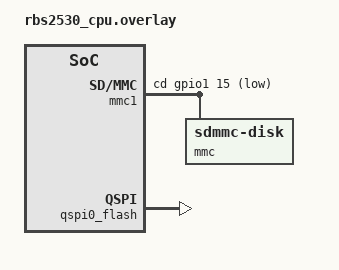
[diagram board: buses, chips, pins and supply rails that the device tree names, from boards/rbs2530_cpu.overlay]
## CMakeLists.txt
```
# SPDX-License-Identifier: Apache-2.0

cmake_minimum_required(VERSION 3.20.0)

find_package(Zephyr REQUIRED HINTS $ENV{ZEPHYR_BASE})
project(fwupdate)

target_include_directories(app PRIVATE inc)
target_sources(app PRIVATE src/main.c)
target_sources(app PRIVATE src/fwupdate.c)
```

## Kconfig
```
# Copyright (c) 2025 SYSFly Co.
# SPDX-License-Identifier: Apache-2.0

mainmenu "FW update"

module = FWUPDATE
module-str = FWUPDATE
source "subsys/logging/Kconfig.template.log_config"

config FWUPDATE_AUTO_COMMIT
	bool "Auto commit fwupdate changes"
	default y
	help
	  It will start a background task and commit fwupdate changes if
	  no system crash happens.

source "Kconfig.zephyr"
```

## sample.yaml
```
sample:
  description: rbs2530 FW update sample
  name: rbs2530 FW update sample
common:
  tags: app
tests:
  sample.rbs2530.rte.fwupdate:
    tags: app
    platform_allow:
      - rbs2530_cpu
```

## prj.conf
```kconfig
# shell options
CONFIG_SHELL=y

# Generic kernel options
CONFIG_MAIN_STACK_SIZE=4096
CONFIG_COMMON_LIBC_MALLOC=y
CONFIG_HEAP_MEM_POOL_SIZE=1048576
CONFIG_COMMON_LIBC_MALLOC_ARENA_SIZE=2097152

# Logging
CONFIG_LOG=y
CONFIG_ASSERT=n
CONFIG_PRINTK=y
CONFIG_LOG_SPEED=n
CONFIG_LOG_BUFFER_SIZE=4096
CONFIG_LOG_PROCESS_THREAD_SLEEP_MS=50
CONFIG_LOG_BLOCK_IN_THREAD=y
CONFIG_LOG_CMDS=y

# For SDMMC/MMC read/write
CONFIG_SDHC=y
CONFIG_GPIO=y
CONFIG_DISK_DRIVER_SDMMC=y

# For FatFS support
CONFIG_DISK_ACCESS=y
CONFIG_LOG=y
CONFIG_FILE_SYSTEM=y
CONFIG_FAT_FILESYSTEM_ELM=y
CONFIG_PRINTK=y

# For NOR FLASH Support
CONFIG_SPI=y
CONFIG_SPI_NOR=y
CONFIG_FLASH=y
CONFIG_FLASH_CAD_FLASH_QSPI_NOR=y

# For u-boot support
CONFIG_UBOOT=y
```

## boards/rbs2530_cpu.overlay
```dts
/**
 * Copyright (c) 2024 SYSTech Co.
 * SPDX-License-Identifier: Apache-2.0
 */

#include <zephyr/dt-bindings/gpio/gpio.h>
#include <mem.h>

&mmc1 {
	status = "okay";

	cd-gpios = <&gpio1 15 GPIO_ACTIVE_LOW>; // MIO47 is the SD card detect pin

	mmc {
		compatible = "zephyr,sdmmc-disk";
		status = "okay";
	};
};

&gpio1 {
	status = "okay";
};

&qspi0_flash {
	status = "okay";

	partitions {
		compatible = "fixed-partitions";
		#address-cells = <1>;
		#size-cells = <1>;
		slot0_partition: partition@0 {
			label = "fw_part0";
			reg = <0x00800000 DT_SIZE_M(2)>;
		};
		slot1_partition: partition@1 {
			label = "fw_part1";
			reg = <0x00a00000 DT_SIZE_M(2)>;
		};
		bootenv: partition@2 {
			label = "bootenv";
			reg = <0x00e00000 DT_SIZE_K(512)>;
		};
	};
};

/ {
	aliases {
		flash = &qspi0_flash;
	};
};
```

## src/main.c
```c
/**
 * @file main.c
 * @brief Main file for the firmware update application
 * @copyright SYSFly Co.
 */
#include <zephyr/kernel.h>
#include <zephyr/device.h>
#include <zephyr/storage/disk_access.h>
#include <zephyr/logging/log.h>
#include <zephyr/fs/fs.h>
#include <zephyr/uboot.h>

#include <string.h>
#include <stdio.h>
#include <ctype.h>

#include "fwupdate.h"

LOG_MODULE_REGISTER(main, CONFIG_LOG_DEFAULT_LEVEL);

#if CONFIG_FAT_FILESYSTEM_ELM
#include <ff.h>
/*
 *  Note the fatfs library is able to mount only strings inside _VOLUME_STRS
 *  in ffconf.h
 */
#define DISK_DRIVE_NAME "SD"
#define DISK_MOUNT_PT   "/" DISK_DRIVE_NAME ":"

static FATFS fat_fs;
/* mounting info */
static struct fs_mount_t mp = {
	.type = FS_FATFS,
	.fs_data = &fat_fs,
};
#define FS_RET_OK FR_OK
#else
#error "This demo is only work with SD card"
#endif

static bool get_filecontent(const char *file, void **buf, size_t *size);
static bool user_has_fw_update_job(size_t *firmware_size);
static int user_deal_with_fw_update_job(size_t firmware_size);

int main(void)
{
	size_t firmware_size = 0;

	mp.mnt_point = DISK_MOUNT_PT;

	int rc = fs_mount(&mp);

	if (rc == FS_RET_OK) {
		LOG_INF("Disk mounted.");
	} else {
		LOG_ERR("Error mounting disk.");
	}

	if (user_has_fw_update_job(&firmware_size)) {
		rc = user_deal_with_fw_update_job(firmware_size);
		LOG_INF("Firmware update job completed with rc=%d", rc);
	}

	return 0;
}

static bool user_has_fw_update_job(size_t *firmware_size)
{
	struct fs_file_t job_file;
	char buf[16];
	ssize_t bytes_read;
	int ret = 0;

	/* Initialize file object */
	fs_file_t_init(&job_file);

#if CONFIG_FWUPDATE_JOBFILE
	/* Try to open job.txt */
	ret = fs_open(&job_file, DISK_MOUNT_PT "/job.txt", FS_O_READ);

	if (ret != 0) {
		LOG_DBG("job.txt not found (err %d)", ret);
		return false;
	}

	/* Read file contents */
	bytes_read = fs_read(&job_file, buf, sizeof(buf) - 1);
	if (bytes_read <= 0) {
		LOG_WRN("Failed to read job.txt or file is empty");
		fs_close(&job_file);
		return false;
	}

	buf[bytes_read] = '\0';

	/* Check if "FWUPDATE" is in the file */
	if (memcmp(buf, "FWUPDATE", 8) != 0) {
		LOG_DBG("job.txt does not contain FWUPDATE directive");
		fs_close(&job_file);
		return false;
	}

	LOG_INF("Found FWUPDATE directive in job.txt");
	fs_close(&job_file);
#endif

	/* Check if fw.elf exists */
	struct fs_dirent dirent;

	ret = fs_stat(DISK_MOUNT_PT "/fw.elf", &dirent);
	if (ret != 0 || dirent.type != FS_DIR_ENTRY_FILE) {
		LOG_WRN("fw.elf not found or not a regular file (rc=%d, errno=%d, type=%d)", ret,
			errno, dirent.type);
		return false;
	}

	LOG_INF("Found fw.elf file (size: %u bytes)", dirent.size);
	*firmware_size = dirent.size;
	return true;
}

static int user_deal_with_fw_update_job(size_t firmware_size)
{
	int rc;

	LOG_INF("Pending firmware update found.");

	/* Perform firmware update */
	rc = fw_init();
	if (rc != 0) {
		LOG_ERR("Failed to initialize firmware update module (rc=%d)", rc);
		return rc;
	}

	uint8_t secondary_slot = fw_is_primary(0) ? 1 : 0;
	struct stream_flash_ctx *stream = NULL;
	struct fs_file_t fw_file;

	fs_file_t_init(&fw_file);
	rc = fs_open(&fw_file, DISK_MOUNT_PT "/fw.elf", FS_O_READ);
	if (rc != 0) {
		LOG_ERR("Failed to open firmware file (rc=%d)", rc);
		return rc;
	}

	rc = fw_start(secondary_slot, true, &stream);
	if (rc != 0) {
		LOG_ERR("Failed to start firmware update (rc=%d)", rc);
		return rc;
	}
	/* Write firmware to flash and collect data */
	static uint8_t buf[256];
	size_t total_read = 0;
	ssize_t bytes_read = 0;

	while (total_read < firmware_size) {
		size_t to_read = MIN(sizeof(buf), firmware_size - total_read);

		bytes_read = fs_read(&fw_file, buf, to_read);

		if (bytes_read <= 0) {
			LOG_ERR("Failed to read firmware file (rc=%d)", bytes_read);
			break;
		}

		LOG_DBG("Write %d bytes to flash, percentage: %d%%", bytes_read,
			(total_read + bytes_read) * 100 / firmware_size);

		rc = stream_flash_buffered_write(stream, buf, bytes_read, true);
		if (rc != 0) {
			LOG_ERR("Failed to write firmware to flash (rc=%d)", rc);
			break;
		}

		total_read += bytes_read;
	}

	/* Free the firmware buffer */
	fs_close(&fw_file);

	if (bytes_read <= 0 || rc != 0) {
		LOG_ERR("Firmware update failed, rc=%d", rc);
		return rc;
	}

	/* Try to read and parse hash file for algorithm */
	const char *hash_content = NULL;
	size_t hash_size = 0;

	if (!get_filecontent(DISK_MOUNT_PT "/hash.txt", (void **)&hash_content, &hash_size)) {
		LOG_WRN("hash.txt not found or empty");
	} else {
		LOG_INF("Found hash.txt, size: %zu bytes", hash_size);
	}

	/* Try to read and parse signature file */
	const char *signature_content = NULL;
	size_t signature_size = 0;

	if (!get_filecontent(DISK_MOUNT_PT "/signature.txt", (void **)&signature_content,
			     &signature_size)) {
		LOG_WRN("signature.txt not found or empty");
	} else {
		LOG_INF("Found signature.txt, size: %zu bytes", signature_size);
	}

	/* Try to read and parse trust chain file */
	const char *trust_chain_content = NULL;
	size_t trust_chain_size = 0;

	if (!get_filecontent(DISK_MOUNT_PT "/trust_chain.txt", (void **)&trust_chain_content,
			     &trust_chain_size)) {
		LOG_WRN("trust_chain.txt not found or empty");
	} else {
		LOG_INF("Found trust_chain.txt, size: %zu bytes", trust_chain_size);
	}

	/* Hash verification will be handled automatically in fw_finish() */
	rc = fw_finish(secondary_slot, "FWUPDATE", 8, "SHA256", hash_content, signature_content,
		       trust_chain_content);

	k_free((void *)hash_content);
	k_free((void *)signature_content);
	k_free((void *)trust_chain_content);

	if (rc != 0) {
		LOG_ERR("Failed to finish firmware update (rc=%d)", rc);
		return rc;
	}

	/* Verify the firmware (includes hash verification) */
	if (!fw_is_valid(secondary_slot)) {
		LOG_ERR("Firmware validation failed for slot %d", secondary_slot);
		return -EINVAL;
	}

	LOG_INF("Firmware update and validation completed successfully (slot %d)", secondary_slot);

#if CONFIG_FWUPDATE_JOBFILE
	/* Clean up files */
	rc = fs_unlink(DISK_MOUNT_PT "/job.txt");
	if (rc != 0) {
		LOG_ERR("Failed to remove job.txt (rc=%d)", rc);
		return rc;
	}
	LOG_INF("job.txt removed");
#endif

	return 0;
}

static bool get_filecontent(const char *file, void **buf, size_t *size)
{
	struct fs_dirent dirent;
	struct fs_file_t file_obj;
	int rc;

	/* get file size */
	rc = fs_stat(file, &dirent);
	if (rc != 0 || dirent.type != FS_DIR_ENTRY_FILE) {
		LOG_ERR("File %s not found or not a regular file (rc=%d, type=%d)", file, rc,
			dirent.type);
		return false;
	}
	if (dirent.size == 0) {
		LOG_WRN("File %s is empty", file);
		return false;
	}
	*size = dirent.size;

	/* Allocate buffer and read file content */
	fs_file_t_init(&file_obj);

	rc = fs_open(&file_obj, file, FS_O_READ);
	if (rc != 0) {
		LOG_ERR("Failed to open file %s (rc=%d)", file, rc);
		return false;
	}

	*buf = k_malloc(*size + 1);
	if (!*buf) {
		LOG_ERR("Failed to allocate memory for file content");
		fs_close(&file_obj);
		return false;
	}

	ssize_t bytes_read = fs_read(&file_obj, *buf, *size);

	if (bytes_read < 0) {
		LOG_ERR("Failed to read file %s (rc=%zd)", file, bytes_read);
		k_free(*buf);
		fs_close(&file_obj);
		return false;
	}

	((char *)(*buf))[bytes_read] = '\0';

	fs_close(&file_obj);
	return true;
}
```

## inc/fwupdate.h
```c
/**
 * @file fwupdate.h
 * @brief Firmware update header file
 * @copyright SYSFly Co.
 */
#pragma once

#include <stdint.h>
#include <zephyr/storage/stream_flash.h>

#ifdef __cplusplus
extern "C" {
#endif

struct fw_info {
	uint32_t fw_size;         /* Firmware size */
	uint32_t fw_digest[8];    /* Firmware digest, null if not available */
	uint32_t fw_signature[8]; /* Firmware signature, null if not available */
	char fw_tag[64];          /* Firmware tag */
};

/**
 * @brief Initialize the firmware update module
 * @note: This function must be called before any other function in this module
 * @return 0 on success, negative errno code on failure
 * @return -ENOENT if the partition is not available
 * @return -ENODEV if the flash device is not available
 * @return other negative errno codes on flash operation failure
 */
int fw_init(void);

/**
 * @brief Get the firmware information
 * @param slot Firmware slot
 * @param info Firmware information
 * @return 0 on success
 * @return -EINVAL if slot is invalid or partition is not initialized or too small
 * @return -ENODATA if the metadata or checksum is invalid
 */
int fw_get_info(uint8_t slot, struct fw_info *info);

/**
 * @brief Start a firmware update
 * @param slot Firmware slot
 * @param erase Erase the firmware partition before starting the update
 * @param[out] stream Stream to write the firmware to
 * @note  Use stream_flash_buffered_write() and stream_flash_erase_page() to write the firmware
 *        And user needs to make sure all the data is written to the flash before calling
 * fw_finish()
 * @return 0 on success
 * @return -EINVAL if slot is invalid or stream is NULL
 * @return -EACCES if the slot is primary or the stream is already initialized
 * @return other negative errno codes on flash operation failure
 */
int fw_start(uint8_t slot, bool erase, struct stream_flash_ctx **stream);

/**
 * @brief Finish a firmware update
 * @param slot Firmware slot
 * @param tag Firmware tag
 * @param tag_len Firmware tag length
 * @param hash_algo Hash algorithm name (e.g., "SHA256"), can be NULL for default
 * @param hash Hash value, can be NULL if not available
 * @param signature Signature value (hex), can be NULL if not available
 * @param trust_chain Trust chain (DER in hex, splited by ' '), can be NULL if not available
 * @note This function will set security_mode based on the hash_algo and signature
 *       - certificate: signature and trust_chain are used
 *       - hash: hash_algo and hash are used
 *       - none: no security.
 * @return 0 on success
 * @return -EINVAL if slot is invalid or tag is invalid
 * @return other negative errno codes on flash operation failure
 */
int fw_finish(uint8_t slot, const char *tag, size_t tag_len, const char *hash_algo,
	      const char *hash, const char *signature, const char *trust_chain);

/**
 * @brief Check if the firmware slot is valid
 * @param slot Firmware slot
 * @return true if the slot is valid
 * @return false if the slot is invalid
 */
bool fw_is_valid(uint8_t slot);

/**
 * @brief Check if the firmware slot is primary
 * @param slot Firmware slot
 * @return true if the slot is primary
 * @return false if the slot is not primary
 */
bool fw_is_primary(uint8_t slot);

/**
 * @brief Commit the firmware update
 *
 * @return true commit success
 * @return false commit failed
 */
bool fw_commit(void);

#ifdef __cplusplus
}
#endif
```

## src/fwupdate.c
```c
/**
 * @file fwupdate.c
 * @brief Firmware update source file
 * @copyright SYSFly Co.
 */
#include "fwupdate.h"
#include <stdio.h>
#include <stdlib.h>
#include <zephyr/kernel.h>
#include <zephyr/uboot.h>
#include <zephyr/logging/log.h>
#include <zephyr/storage/flash_map.h>
#include <zephyr/storage/stream_flash.h>

#include <string.h>
#include <ctype.h>

LOG_MODULE_REGISTER(fwupdate, CONFIG_FWUPDATE_LOG_LEVEL);

#define FW_SLOT0_ID FIXED_PARTITION_ID(slot0_partition)
#define FW_SLOT1_ID FIXED_PARTITION_ID(slot1_partition)

#if !FIXED_PARTITION_EXISTS(slot0_partition)
#error "slot0_partition not defined"
#endif

#if !FIXED_PARTITION_EXISTS(slot1_partition)
#error "slot1_partition not defined"
#endif

enum partition_e {
	PART_A = 0,
	PART_B,
};

enum fw_metadata_key_e {
	FW_DIGEST = 0,
	FW_SIGNATURE,
	FW_TAG,
	FW_SIZE,
	FW_HASH_ALGO, /* e.g. "sha256" */
};

enum fw_global_key_e {
	FW_ACTIVE = 0,
	FW_CHECK,
	FW_BOOT_CNT,
	FW_MAX_BOOT,
	FW_SECURITY_MODE,        /* security mode, e.g. "cert", "hash", "none" */
	FW_SECURITY_POLICY,      /* security policy, e.g. "goon", "hang", "fallback" */
	FW_SECURITY_TRUST_CHAIN, /* trust chain in hex, splited by ' ' */
};

/* NOTE: this is the prefix for the metadata partition,
 * e.g. app_digest_a, app_digest_b
 */
const char *fw_metadata_keys[] = {
	[FW_DIGEST] = "app_digest", [FW_SIGNATURE] = "app_signature", [FW_TAG] = "app_tag",
	[FW_SIZE] = "app_size",     [FW_HASH_ALGO] = "app_hash_algo",
};

const char *fw_global_keys[] = {
	[FW_ACTIVE] = "active_slot",
	[FW_CHECK] = "check_boot",
	[FW_BOOT_CNT] = "bootcnt",
	[FW_MAX_BOOT] = "max_boot",
	[FW_SECURITY_MODE] = "security_mode",
	[FW_SECURITY_POLICY] = "security_policy",
	[FW_SECURITY_TRUST_CHAIN] = "trust_chain",
};

struct fw_metadata {
	/* firmware header, offset 44 */
	uint8_t fw_digest[32];     /* SHA256 digest */
	uint8_t fw_signature[512]; /* RSA4096 signature */
	uint32_t fw_size;
	char fw_tag[64];
	char fw_hash_algo[16]; /* e.g. "SHA256" */
};

struct fw_update_instance {
	const uint8_t fa_fw_id;         /* flash area id for firmware */
	const struct flash_area *fa_fw; /* flash area for firmware */
	struct fw_metadata metadata;    /* metadata */
	bool is_primary;                /* is primary slot */
	bool is_valid;                  /* is valid */
	bool is_streaming;              /* is streaming */

	struct stream_flash_ctx fw_ctx; /* firmware context */
	uint8_t stream_buf[256];        /* stream buffer */
};

static struct fw_update_instance fw_instance[2] = {
	{
		.fa_fw_id = FW_SLOT0_ID,
		.fa_fw = NULL,
		.metadata = {},
	},
	{
		.fa_fw_id = FW_SLOT1_ID,
		.fa_fw = NULL,
		.metadata = {},
	},
};

#if CONFIG_FWUPDATE_AUTO_COMMIT
static bool fw_autocommit_cancel; /* default to false */
#endif

static uboot_env_t env[1];

static inline bool prepare_key(char *buf, size_t len, enum fw_metadata_key_e key,
			       enum partition_e part)
{
	int rc = snprintf(buf, len, "%s_%c", fw_metadata_keys[key], part == PART_A ? 'a' : 'b');

	return rc > 0 && rc < len;
}

static inline int fw_query_metadata(char *buf, size_t len, enum fw_metadata_key_e key,
				    enum partition_e part)
{
	char key_buf[64];

	if (!prepare_key(key_buf, sizeof(key_buf), key, part)) {
		LOG_ERR("Failed to prepare key for metadata");
		return -EINVAL;
	}

	int rc = uboot_env_get(env[0], key_buf, buf, len);

	if (rc) {
		LOG_ERR("Failed to get %s from uboot env, rc %d", key_buf, rc);
	}

	return rc;
}

static inline int fw_query_global(char *buf, size_t len, enum fw_global_key_e key)
{
	int rc = uboot_env_get(env[0], fw_global_keys[key], buf, len);

	if (rc) {
		LOG_ERR("Failed to get %s from uboot env, rc %d", fw_global_keys[key], rc);
	}

	return rc;
}

static inline int fw_set_global(enum fw_global_key_e key, const char *val)
{
	int rc = uboot_env_set(env[0], fw_global_keys[key], val);

	if (rc) {
		LOG_ERR("Failed to set %s to uboot env, rc %d", fw_global_keys[key], rc);
	}

	return rc;
}

static void fw_load_meta_from_env(uboot_env_t env, enum partition_e part, struct fw_metadata *meta)
{
	char val[sizeof(meta->fw_signature) * 2 + 1];

	ARG_UNUSED(env);

	memset(meta, 0, sizeof(struct fw_metadata));

	if (!fw_query_metadata(val, sizeof(val), FW_DIGEST, part)) {
		/* Each byte in digest is represented by 2 hex characters */
		size_t len = strnlen(val, sizeof(val));

		if (len == 2 * sizeof(meta->fw_digest)) { /* hex is 2 chars per byte */
			for (size_t i = 0; i < sizeof(meta->fw_digest); i++) {
				char hex[3] = {val[i * 2], val[i * 2 + 1], '\0'};

				meta->fw_digest[i] = strtoul(hex, NULL, 16);
			}
		} else {
			LOG_WRN("Invalid digest length: %zu (expected %zu)", len,
				2 * sizeof(meta->fw_digest));
		}
	}
	if (!fw_query_metadata(val, sizeof(val), FW_SIGNATURE, part)) {
		/* Each byte in signature is represented by 2 hex characters */
		size_t len = strnlen(val, sizeof(val));

		if (len == 2 * sizeof(meta->fw_signature)) { /* hex is 2 chars per byte */
			for (size_t i = 0; i < sizeof(meta->fw_signature); i++) {
				char hex[3] = {val[i * 2], val[i * 2 + 1], '\0'};

				meta->fw_signature[i] = strtoul(hex, NULL, 16);
			}
		} else {
			LOG_WRN("Invalid signature length: %zu (expected %zu)", len,
				2 * sizeof(meta->fw_signature));
		}
	}

	if (!fw_query_metadata(meta->fw_tag, sizeof(meta->fw_tag), FW_TAG, part)) {
		/* Tag is directly copied into meta->fw_tag */
	}

	if (!fw_query_metadata(val, sizeof(val), FW_SIZE, part)) {
		/* value is encoded hex value like 0x04000 */
		meta->fw_size = strtoul(val, NULL, 16);
	}

	if (!fw_query_metadata(meta->fw_hash_algo, sizeof(meta->fw_hash_algo), FW_HASH_ALGO,
			       part)) {
		/* Hash algorithm is directly copied into meta->fw_hash_algo */
		LOG_DBG("Loaded hash algorithm: %s for partition %s", meta->fw_hash_algo,
			part == PART_A ? "A" : "B");
	}
}

static void fw_save_meta_to_env(uboot_env_t env, enum partition_e part, struct fw_metadata *meta)
{
	char key[64];
	char val[sizeof(meta->fw_signature) * 2 + 1];
	int rc;

	/* set digest */
	snprintf(key, sizeof(key), "%s_%c", fw_metadata_keys[FW_DIGEST],
		 part == PART_A ? 'a' : 'b');
	for (size_t i = 0; i < sizeof(meta->fw_digest); i++) {
		snprintf(&val[i * 2], 3, "%02x", meta->fw_digest[i]);

		if (i * 2 + 2 >= sizeof(val)) {
			LOG_ERR("Digest too long for uboot env, truncating");
			break;
		}
	}
	rc = uboot_env_set(env, key, val);
	if (rc) {
		LOG_ERR("Failed to set %s to uboot env, rc %d", key, rc);
	}

	/* set signature */
	snprintf(key, sizeof(key), "%s_%c", fw_metadata_keys[FW_SIGNATURE],
		 part == PART_A ? 'a' : 'b');
	for (size_t i = 0; i < sizeof(meta->fw_signature); i++) {
		snprintf(&val[i * 2], 3, "%02x", meta->fw_signature[i]);

		if (i * 2 + 2 >= sizeof(val)) {
			LOG_ERR("Signature too long for uboot env, truncating");
			break;
		}
	}
	rc = uboot_env_set(env, key, val);
	if (rc) {
		LOG_ERR("Failed to set %s to uboot env, rc %d", key, rc);
	}

	/* set tag */
	snprintf(key, sizeof(key), "%s_%c", fw_metadata_keys[FW_TAG], part == PART_A ? 'a' : 'b');
	rc = uboot_env_set(env, key, meta->fw_tag);
	if (rc) {
		LOG_ERR("Failed to set %s to uboot env, rc %d", key, rc);
	}

	/* set size */
	snprintf(key, sizeof(key), "%s_%c", fw_metadata_keys[FW_SIZE], part == PART_A ? 'a' : 'b');
	snprintf(val, sizeof(val), "0x%08x", meta->fw_size);
	rc = uboot_env_set(env, key, val);
	if (rc) {
		LOG_ERR("Failed to set %s to uboot env, rc %d", key, rc);
	}

	/* set hash algorithm */
	snprintf(key, sizeof(key), "%s_%c", fw_metadata_keys[FW_HASH_ALGO],
		 part == PART_A ? 'a' : 'b');
	rc = uboot_env_set(env, key, meta->fw_hash_algo);
	if (rc) {
		LOG_ERR("Failed to set %s to uboot env, rc %d", key, rc);
	}
}

int fw_init(void)
{
	static bool initialized;
	int rc;

	if (!initialized) {
		initialized = true;
	} else {
		return 0;
	}

	rc = uboot_env_load(&env[0]);
	if (rc) {
		LOG_ERR("Failed to load uboot env, rc %d", rc);
		return rc;
	}

	rc = 0;
	for (size_t i = 0; i < ARRAY_SIZE(fw_instance); i++) {
		/**
		 * We don't need to release the flash area, since it
		 * will be only initialized once.
		 */
		struct fw_update_instance *inst = &fw_instance[i];
		struct fw_metadata *ptr_m = &inst->metadata;

		LOG_INF("Initializing firmware partition %d", i);

		/* Load metadata from uboot env */
		LOG_DBG("Start to read metadata from uboot env..., partition %d", i);
		fw_load_meta_from_env(env, (enum partition_e)i, ptr_m);
		LOG_INF("Firmware partition %d(%s) size: %u", i, i == 0 ? "A" : "B",
			ptr_m->fw_size);
		LOG_HEXDUMP_DBG(ptr_m->fw_digest, sizeof(ptr_m->fw_digest), "digest");
		LOG_HEXDUMP_DBG(ptr_m->fw_signature, sizeof(ptr_m->fw_signature), "signature");
		size_t tag_len = strnlen(ptr_m->fw_tag, sizeof(ptr_m->fw_tag));

		if (tag_len != 0 && tag_len < sizeof(ptr_m->fw_tag)) {
			LOG_INF("Firmware tag: %s", ptr_m->fw_tag);
		} else {
			LOG_INF("Firmware tag: <empty>");
		}
		LOG_DBG("Metadata loaded from uboot env");

		/* Open the firmware partition */
		LOG_DBG("Opening firmware partition %d...", i);
		rc = flash_area_open(inst->fa_fw_id, &inst->fa_fw);
		if (rc) {
			LOG_ERR("Cannot open firmware partition %d", i);
			return rc;
		}
		LOG_DBG("Firmware partition %d: %08lx-%08lx", i, inst->fa_fw->fa_off,
			inst->fa_fw->fa_off + inst->fa_fw->fa_size);

		/* Set default valid state - should be determined by validation */
		inst->is_valid = true;
	}

	enum partition_e part = PART_A;
	char val[64];

	rc = fw_query_global(val, sizeof(val), FW_ACTIVE);
	if (!rc) {

		if (!strcmp(val, "A")) {
			part = PART_A;
		} else if (!strcmp(val, "B")) {
			part = PART_B;
		} else {
			LOG_WRN("Unknown active slot %s, assume slot A", val);
			part = PART_A;
		}
	}

	fw_instance[part].is_primary = true;

	if (!fw_instance[part].is_valid) {
		LOG_WRN("Primary slot %d is invalid", part);
	}

	return rc;
}

bool fw_is_valid(uint8_t slot)
{
	if (slot >= ARRAY_SIZE(fw_instance)) {
		return false;
	}

	const struct fw_update_instance *inst = &fw_instance[slot];

	/* Check validity */
	if (!inst->is_valid) {
		return false;
	}

	/* Check firmware size */
	if (inst->metadata.fw_size == 0) {
		return false;
	}

	/* If flash area is not initialized, return basic validity */
	if (!inst->fa_fw) {
		return inst->is_valid;
	}

	return true;
}

bool fw_is_primary(uint8_t slot)
{
	if (slot >= ARRAY_SIZE(fw_instance)) {
		return false;
	}
	return fw_instance[slot].is_primary;
}

int fw_get_info(uint8_t slot, struct fw_info *info)
{
	struct fw_update_instance *inst = &fw_instance[slot];

	if (slot >= ARRAY_SIZE(fw_instance) || !info) {
		return -EINVAL;
	}

	if (!inst->is_valid) {
		return -EINVAL;
	}

	info->fw_size = inst->metadata.fw_size;
	memcpy(info->fw_digest, inst->metadata.fw_digest, sizeof(info->fw_digest));
	memcpy(info->fw_signature, inst->metadata.fw_signature, sizeof(info->fw_signature));
	memcpy(info->fw_tag, inst->metadata.fw_tag, sizeof(info->fw_tag));
	return 0;
}

int fw_start(uint8_t slot, bool erase, struct stream_flash_ctx **stream)
{
	if (slot >= ARRAY_SIZE(fw_instance) || !stream) {
		return -EINVAL;
	}
	struct fw_update_instance *inst = &fw_instance[slot];
	int rc;

	if (inst->is_primary) {
		return -EACCES;
	}

	if (erase) {
		LOG_INF("Erasing firmware partition %d", slot);
		rc = flash_area_erase(inst->fa_fw, 0, inst->fa_fw->fa_size);
		if (rc) {
			LOG_ERR("Cannot erase firmware partition %d", slot);
			return rc;
		}
	}

	/* Initialize the stream flash context */
	rc = stream_flash_init(&inst->fw_ctx, inst->fa_fw->fa_dev, inst->stream_buf,
			       sizeof(inst->stream_buf), inst->fa_fw->fa_off, inst->fa_fw->fa_size,
			       NULL);
	if (rc) {
		LOG_WRN("Cannot initialize stream flash context for slot %d", slot);
		return rc;
	}

	/* Return the stream flash context */
	*stream = &inst->fw_ctx;
	inst->is_streaming = true;
	return 0;
}

int fw_finish(uint8_t slot, const char *tag, size_t tag_len, const char *hash_algo,
	      const char *hash, const char *signature, const char *trust_chain)
{
	int rc;
	bool has_hash = false;
	bool has_signature = false;
	bool has_hash_algo = false;
	bool has_trust_chain = false;

	if (slot >= ARRAY_SIZE(fw_instance)) {
		return -EINVAL;
	}
	if (!tag || tag_len == 0 || tag_len >= sizeof(fw_instance[slot].metadata.fw_tag)) {
		LOG_WRN("finish slot %d: tag is invalid, ptr %p, len %u", slot, tag, tag_len);
		return -EINVAL;
	}
	struct fw_update_instance *inst = &fw_instance[slot];

	/* Check if we have a valid context */
	if (!inst->is_streaming) {
		return -EINVAL;
	}

	size_t bytes_written = stream_flash_bytes_written(&inst->fw_ctx);

	LOG_INF("Firmware partition %d: %u bytes written", slot, bytes_written);

	/* Prepare metadata */
	struct fw_metadata *meta = &inst->metadata;

	LOG_DBG("Start to prepare metadata...");
	meta->fw_size = (uint32_t)bytes_written;

	/* Update digest */
	if (hash && strnlen(hash, 2 * sizeof(meta->fw_digest)) >= 2 * sizeof(meta->fw_digest)) {
		for (size_t i = 0; i < sizeof(meta->fw_digest); i++) {
			char hex[3] = {hash[i * 2], hash[i * 2 + 1], '\0'};

			meta->fw_digest[i] = strtoul(hex, NULL, 16);
		}
		has_hash = true;
	} else {
		LOG_WRN("No hash provided (or invalid), using zero digest");
		if (hash) {
			LOG_WRN("Hash length: %zu (expected %zu)",
				strnlen(hash, 2 * sizeof(meta->fw_digest) + 1),
				2 * sizeof(meta->fw_digest));
		}
		memset(meta->fw_digest, 0, sizeof(meta->fw_digest));
	}

	/* Update signature */
	if (signature &&
	    strnlen(signature, 2 * sizeof(meta->fw_signature)) >= 2 * sizeof(meta->fw_signature)) {
		for (size_t i = 0; i < sizeof(meta->fw_signature); i++) {
			char hex[3] = {signature[i * 2], signature[i * 2 + 1], '\0'};

			meta->fw_signature[i] = strtoul(hex, NULL, 16);
		}
		has_signature = true;
	} else {
		LOG_WRN("No signature provided (or invalid), using zero signature");

		if (signature) {
			LOG_WRN("Signature length: %zu (expected %zu)",
				strnlen(signature, 2 * sizeof(meta->fw_signature) + 1),
				2 * sizeof(meta->fw_signature));
		}
		memset(meta->fw_signature, 0, sizeof(meta->fw_signature));
	}

	/* Set hash algorithm from parameter */
	if (hash_algo && strnlen(hash_algo, sizeof(meta->fw_hash_algo)) > 0) {
		snprintf(meta->fw_hash_algo, sizeof(meta->fw_hash_algo), "%s", hash_algo);
		has_hash_algo = true;
	}

	memcpy(meta->fw_tag, tag, tag_len);

	LOG_DBG("Firmware size: %u, tag: %s, hash_algo: %s", meta->fw_size, meta->fw_tag,
		meta->fw_hash_algo);
	LOG_HEXDUMP_DBG(meta->fw_digest, sizeof(meta->fw_digest), "digest");
	LOG_HEXDUMP_DBG(meta->fw_signature, sizeof(meta->fw_signature), "signature");
	inst->is_valid = true;
	inst->is_streaming = false;

	fw_save_meta_to_env(env[0], (enum partition_e)slot, meta);
	fw_set_global(FW_ACTIVE, slot == PART_A ? "A" : "B");
	fw_set_global(FW_CHECK, "1");
	fw_set_global(FW_BOOT_CNT, "0");

	if (trust_chain && strnlen(trust_chain, 256) > 0 &&
	    strnlen(trust_chain, 32 * 1024) < 32 * 1024) {
		LOG_DBG("Setting trust chain... len: %zu", strnlen(trust_chain, 32 * 1024));
		fw_set_global(FW_SECURITY_TRUST_CHAIN, trust_chain);
		has_trust_chain = true;
	}

	/*
	 * NOTE: change security mode and policy by
	 *  fw_set_global(FW_SECURITY_MODE, "cert");
	 *  fw_set_global(FW_SECURITY_POLICY, "goon");
	 *  or you can change those in u-boot env directly
	 */

	rc = uboot_env_save(env[0]);
	if (rc) {
		LOG_ERR("Failed to save uboot env, rc %d", rc);
		return rc;
	}
	LOG_INF("Firmware partition %d: fwupdate completed successfully", slot);

#if CONFIG_FWUPDATE_AUTO_COMMIT
	fw_autocommit_cancel = true;
#endif

	return 0;
}

bool fw_commit(void)
{
	int rc;
	char val[8];

	fw_init();

	rc = fw_query_global(val, sizeof(val), FW_CHECK);
	if (rc) {
		LOG_ERR("Failed to query check_boot, rc %d", rc);
		return false;
	}

	if (strcmp(val, "0")) {
		LOG_INF("Committing firmware update");
		rc = fw_set_global(FW_CHECK, "0");
		if (rc) {
			LOG_ERR("Failed to set check_boot to 0, rc %d", rc);
			return false;
		}
		rc = uboot_env_save(env[0]);
		if (rc) {
			LOG_ERR("Failed to save uboot env, rc %d", rc);
			return false;
		}
		LOG_INF("Firmware update committed");
	}

	return true;
}

#if CONFIG_FWUPDATE_AUTO_COMMIT

static void fw_autocommit_task(void)
{
	k_msleep(1000 * 60);

	/* If fw_autocommit_cancel is set, fw_commit will not be called automatically */
	if (!fw_autocommit_cancel) {
		fw_commit();
	} else {
		LOG_INF("fw_autocommit cancelled");
	}
}

K_THREAD_DEFINE(fw_autocommit, 4096, fw_autocommit_task, NULL, NULL, NULL, 10, 0, 0);

int fw_autocommit_start(void)
{
	k_tid_t tid = fw_autocommit;

	k_thread_name_set(tid, "fw_autocommit");
	k_thread_start(tid);
	return 0;
}

SYS_INIT(fw_autocommit_start, APPLICATION, CONFIG_APPLICATION_INIT_PRIORITY);

#endif
```
